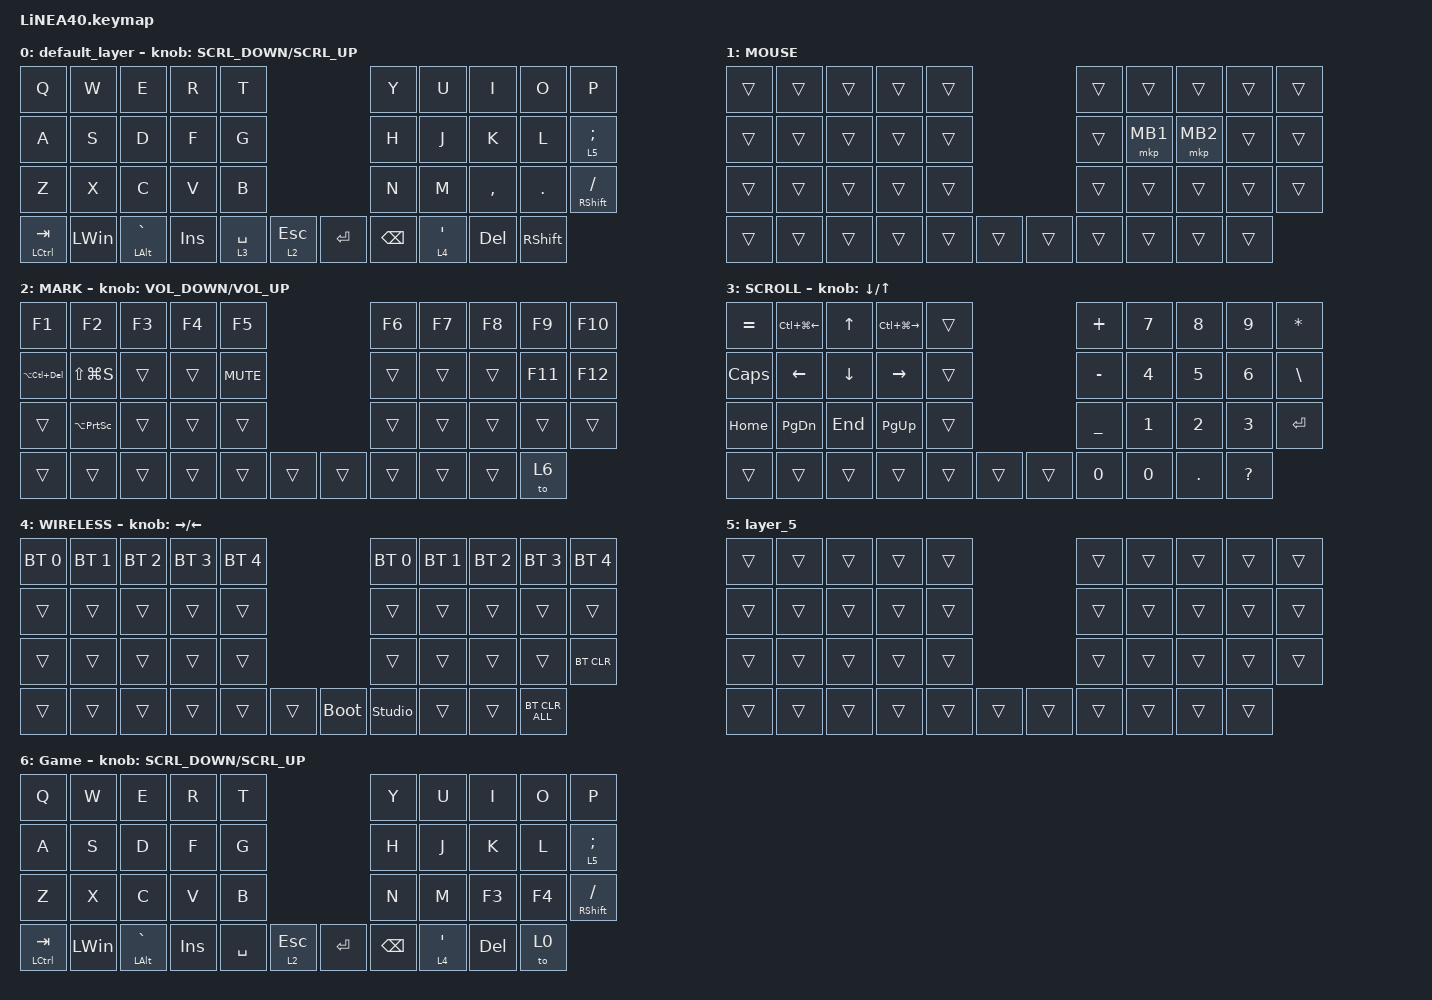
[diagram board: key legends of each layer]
#define ZMK_POINTING_DEFAULT_SCRL_VAL 80

#include <dt-bindings/zmk/input_transform.h>
#include <input/processors.dtsi>
#include <zephyr/dt-bindings/input/input-event-codes.h>
#include <behaviors.dtsi>
#include <dt-bindings/zmk/bt.h>
#include <dt-bindings/zmk/keys.h>
#include <dt-bindings/zmk/pointing.h>

#define MOUSE 1
#define MARK 2
#define SCROLL 3
#define WIRELESS 4
#define TRACKBALL_SCROLL 5
#define GAME 6

//mouse cursol

&mmv {
    delay-ms = <20>;
    trigger-period-ms = <5>;
    time-to-max-speed-ms = <100>;
    acceleration-exponent = <2>;
};

//mouse scroll

&msc {
    delay-ms = <3>;
    trigger-period-ms = <3>;
    acceleration-exponent = <0>;
    time-to-max-speed-ms = <100>;
};

/ {

    input_processors {

        zip_wheel_scaler: zip_wheel_scaler {
            compatible = "zmk,input-processor-scaler";
            #input-processor-cells = <2>;
            type = <INPUT_EV_REL>;
            codes = <INPUT_REL_WHEEL>;
            track-remainders;
        };


        trackball_scroll_scaler: trackball_scroll_scaler {
            compatible = "zmk,input-processor-scaler";
            #input-processor-cells = <2>;
            type = <INPUT_EV_REL>;
            codes = <INPUT_REL_WHEEL>;
            track-remainders;
        };

    };
};

&trackball_listener {
    scroller {
        layers = <TRACKBALL_SCROLL>;
        input-processors =
            <&zip_xy_transform INPUT_TRANSFORM_Y_INVERT>,
            <&zip_xy_to_scroll_mapper>,
            <&trackball_scroll_scaler 1 8>;
    };
};

/ {
    combos {
        compatible = "zmk,combos";

        DeleteKey {
            bindings = <&kp DEL>;
            key-positions = <7 8>;
        };

        InsertKey {
            bindings = <&kp INS>;
            key-positions = <6 7>;
        };

        CenterClick {
            bindings = <&mkp MB3>;
            key-positions = <17 16>;
        };

        PrevClick {
            bindings = <&kp LC(PAGE_UP)>;
            key-positions = <27 26>;
        };

        ClickNext {
            bindings = <&kp LC(PAGE_DOWN)>;
            key-positions = <27 28>;
        };

        shift {
            bindings = <&kp LEFT_SHIFT>;
            key-positions = <32 20>;
        };
    };

    behaviors {
        re_kp: sensor_rotate_kp {
            compatible = "zmk,behavior-sensor-rotate-var";
            #sensor-binding-cells = <2>;
            bindings = <&kp>, <&kp>;
        };

        mouse_scrl: mouse_wheel_scrl {
            compatible = "zmk,behavior-sensor-rotate-var";
            #sensor-binding-cells = <2>;
            bindings = <&msc>, <&msc>;

            tap-ms = <20>;
        };
    };

    keymap {
        compatible = "zmk,keymap";

        default_layer {
            bindings = <
&kp Q          &kp W         &kp E               &kp R    &kp T                                &kp Y          &kp U  &kp I      &kp O       &kp P
&kp A          &kp S         &kp D               &kp F    &kp G                                &kp H          &kp J  &kp K      &kp L       &lt 5 SEMICOLON
&kp Z          &kp X         &kp C               &kp V    &kp B                                &kp N          &kp M  &kp COMMA  &kp DOT     &mt RIGHT_SHIFT SLASH
&mt LCTRL TAB  &kp LEFT_WIN  &mt LEFT_ALT GRAVE  &kp INS  &lt 3 SPACE  &lt 2 ESC    &kp ENTER  &kp BACKSPACE         &lt 4 SQT  &kp DELETE  &kp RIGHT_SHIFT
            >;

            sensor-bindings = <&mouse_scrl SCRL_DOWN SCRL_UP>;
        };

        //1

        MOUSE {
            bindings = <
&trans  &trans  &trans  &trans  &trans                    &trans  &trans    &trans    &trans  &trans
&trans  &trans  &trans  &trans  &trans                    &trans  &mkp MB1  &mkp MB2  &trans  &trans
&trans  &trans  &trans  &trans  &trans                    &trans  &trans    &trans    &trans  &trans
&trans  &trans  &trans  &trans  &trans  &trans    &trans  &trans            &trans    &trans  &trans
            >;
        };

        //2

        MARK {
            bindings = <
&kp F1              &kp F2               &kp F3  &kp F4  &kp F5                        &kp F6  &kp F7  &kp F8  &kp F9   &kp F10
&kp LA(LC(DELETE))  &kp LS(LG(S))        &trans  &trans  &kp C_MUTE                    &trans  &trans  &trans  &kp F11  &kp F12
&trans              &kp LA(PRINTSCREEN)  &trans  &trans  &trans                        &trans  &trans  &trans  &trans   &trans
&trans              &trans               &trans  &trans  &trans      &trans    &trans  &trans          &trans  &trans   &to 6
            >;

            sensor-bindings = <&re_kp C_VOLUME_DOWN C_VOLUME_UP>;
        };

        //3
        //4
        //5

        SCROLL {
            bindings = <
&kp EQUAL     &kp LC(LG(LEFT_ARROW))  &kp UP_ARROW  &kp LC(LG(RIGHT_ARROW))  &trans                    &kp PLUS      &kp NUMBER_7  &kp NUMBER_8  &kp NUMBER_9  &kp ASTERISK
&kp CAPSLOCK  &kp LEFT_ARROW          &kp DOWN      &kp RIGHT_ARROW          &trans                    &kp MINUS     &kp NUMBER_4  &kp NUMBER_5  &kp NUMBER_6  &kp BACKSLASH
&kp HOME      &kp PAGE_DOWN           &kp END       &kp PAGE_UP              &trans                    &kp UNDER     &kp NUMBER_1  &kp NUMBER_2  &kp NUMBER_3  &kp ENTER
&trans        &trans                  &trans        &trans                   &trans  &trans    &trans  &kp NUMBER_0                &kp NUMBER_0  &kp DOT       &kp QUESTION
            >;

            sensor-bindings = <&inc_dec_kp DOWN_ARROW UP_ARROW>;
        };

        //6

        WIRELESS {
            bindings = <
&bt BT_SEL 0  &bt BT_SEL 1  &bt BT_SEL 2  &bt BT_SEL 3  &bt BT_SEL 4                         &bt BT_SEL 0    &bt BT_SEL 1  &bt BT_SEL 2  &bt BT_SEL 3  &bt BT_SEL 4
&trans        &trans        &trans        &trans        &trans                               &trans          &trans        &trans        &trans        &trans
&trans        &trans        &trans        &trans        &trans                               &trans          &trans        &trans        &trans        &bt BT_CLR
&trans        &trans        &trans        &trans        &trans        &trans    &bootloader  &studio_unlock                &trans        &trans        &bt BT_CLR_ALL
            >;

            sensor-bindings = <&inc_dec_kp RIGHT_ARROW LEFT_ARROW>;
        };

        layer_5 {
            bindings = <
&trans  &trans  &trans  &trans  &trans                    &trans  &trans  &trans  &trans  &trans
&trans  &trans  &trans  &trans  &trans                    &trans  &trans  &trans  &trans  &trans
&trans  &trans  &trans  &trans  &trans                    &trans  &trans  &trans  &trans  &trans
&trans  &trans  &trans  &trans  &trans  &trans    &trans  &trans          &trans  &trans  &trans
            >;
        };

        Game {
            bindings = <
&kp Q          &kp W         &kp E               &kp R    &kp T                              &kp Y          &kp U  &kp I      &kp O       &kp P
&kp A          &kp S         &kp D               &kp F    &kp G                              &kp H          &kp J  &kp K      &kp L       &lt 5 SEMICOLON
&kp Z          &kp X         &kp C               &kp V    &kp B                              &kp N          &kp M  &kp F3     &kp F4      &mt RIGHT_SHIFT SLASH
&mt LCTRL TAB  &kp LEFT_WIN  &mt LEFT_ALT GRAVE  &kp INS  &kp SPACE  &lt 2 ESC    &kp ENTER  &kp BACKSPACE         &lt 4 SQT  &kp DELETE  &to 0
            >;

            sensor-bindings = <&mouse_scrl SCRL_DOWN SCRL_UP>;
        };
    };
};
